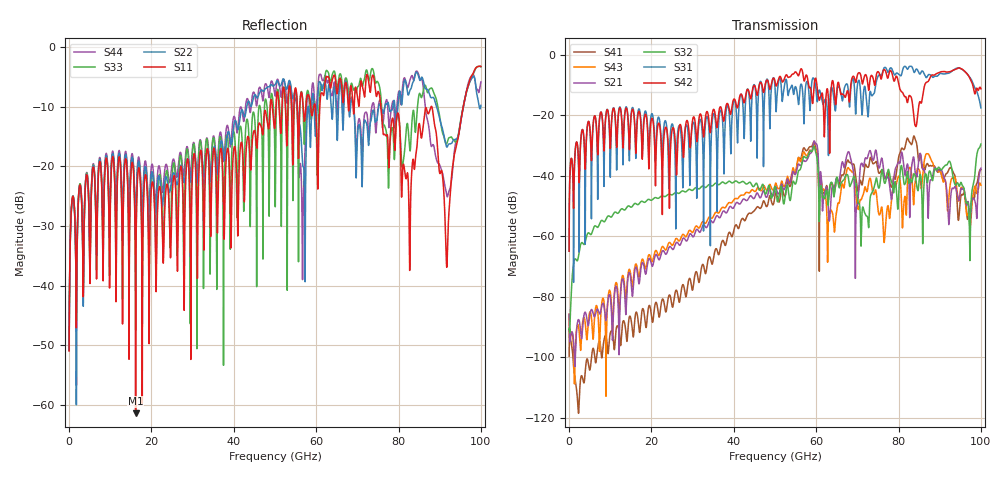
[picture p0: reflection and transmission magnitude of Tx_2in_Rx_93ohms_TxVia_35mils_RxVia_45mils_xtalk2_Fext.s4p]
! Info: Touchstone file created by Circ.  Input file=Tx_2in_Rx_93ohms_TxVia_35mils_RxVia_45mils.circ
# Hz S RI R 50
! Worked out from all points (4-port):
!   10000 points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, 10 MHz to 100 GHz, reference 50 ohm
!   strongest paths, dB at 10 MHz, 25.01 GHz, 50.01 GHz, 75.01 GHz, 100 GHz:
!     S42: -65.0, -25.0, -8.9, -5.6, -11.3
!     S31: -64.9, -22.9, -11.0, -7.2, -17.6
!     S32: -90.5, -46.4, -43.5, -43.4, -29.5
!     S21: -85.8, -64.2, -44.2, -36.2, -37.5
!     S43: -85.8, -63.0, -43.1, -51.2, -43.1
!     S41: -99.7, -83.1, -46.5, -38.3, -38.0
!   lowest |S11| = -61.4 dB at 16.16 GHz (marker M1), VSWR 1.00, Z = 50 + j0.071 ohm
!   |S11| at or under -10 dB: start of sweep to 48.82 GHz; 75.71 GHz to 87.88 GHz (12.17 GHz wide, 14.9 % of centre); 88.1 GHz to 95.72 GHz (7.619 GHz wide, 8.29 % of centre)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
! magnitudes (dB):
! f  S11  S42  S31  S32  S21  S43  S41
! 10 MHz  -51.0  -65.0  -64.9  -90.5  -85.8  -85.8  -99.7
! 16.16 GHz  -61.4  -31.5  -33.2  -49.2  -70.3  -69.2  -85.6
! 59.21 GHz  -10.7  -15.7  -7.7  -31.2  -30.2  -31.1  -29.5
! 63.04 GHz  -5.0  -16.4  -29.2  -47.8  -53.4  -53.6  -47.5
! 91.74 GHz  -36.8  -5.8  -6.3  -36.5  -45.4  -47.9  -39.3
! 97.14 GHz  -5.9  -7.3  -7.2  -54.0  -51.0  -54.4  -52.3
! 100 GHz  -3.2  -11.3  -17.6  -29.5  -37.5  -43.1  -38.0
